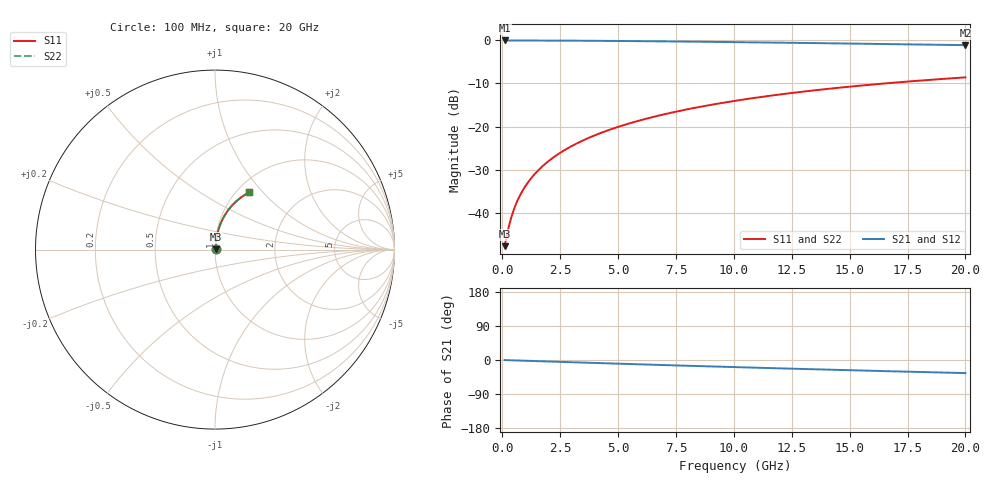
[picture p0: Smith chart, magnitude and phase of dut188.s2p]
! Touchstone file exported from HFSS 2024.1.0
!  File:  C:/UserFiles/LocalFiles/RDL_TSV_Batchsim/temp_RDL_bottom_188_1778698980.aedt
!  Generated:  03:06:03 AM May 14, 2026
!  Design:  RDL_bottom
!  Project:  temp_RDL_bottom_188_1778698980
!  Setup:  Setup1
!  Solution:  Sweep
! Variables:
!  dtsv = 10.80580581um
!  hbump = 3um
!  htsv = 67.96um
!  ldown = 461.82um
!  lrdl = 100um
!  p = 40
!  p1 = 43.12um
!  rhole = 1um
!  t = 450um
!  tdown = 3.2um
!  trdl = 3.915915916um
!  wdown = 15.14um
!  wrdl = 20um
# GHz S MA R 50.000000
! Terminal data exported
! Port[1] = RDL1_T1
! Port[2] = RDL1_T2
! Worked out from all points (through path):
!   200 points, 100 MHz to 20 GHz, reference 50 ohm
!   highest |S21| = -0.03 dB at 100 MHz (marker M1); lowest = -1.1 dB at 20 GHz (marker M2)
!   group delay of S21, straight-line fit = 4.79 ps
!   lowest |S11| = -47.7 dB at 100 MHz (marker M3), VSWR 1.01, Z = 50.4 + j0.211 ohm
!   |S11| at or under -10 dB: start of sweep to 16.52 GHz
!   |S22| runs from -47.7 to -8.6 dB; largest |S21 - S12| = 3.4e-15
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0.1  0.004099 30.7  0.9965 -0.2  0.9965 -0.2  0.004099 30.7
! Gamma 0 0 0 0
! Port Impedance 50 0 50 0
0.2  0.005507 49.1  0.9964 -0.4  0.9964 -0.4  0.005507 49.1
0.3  0.007225 59.1  0.9963 -0.6  0.9963 -0.6  0.007225 59.1
0.4  0.009049 64.9  0.9961 -0.8  0.9961 -0.8  0.009049 64.9
0.5  0.01091 68.7  0.996 -1.0  0.996 -1.0  0.01091 68.7
0.6  0.01279 71.4  0.9959 -1.2  0.9959 -1.2  0.01279 71.4
0.8  0.01658 74.9  0.9956 -1.6  0.9956 -1.6  0.01658 74.9
1.1  0.02232 78.0  0.9952 -2.2  0.9952 -2.2  0.02232 78.0
1.3  0.02617 79.2  0.9949 -2.6  0.9949 -2.6  0.02617 79.2
1.6  0.03199 80.4  0.9944 -3.2  0.9944 -3.2  0.03199 80.4
2.1  0.04174 81.5  0.9934 -4.2  0.9934 -4.2  0.04174 81.5
2.7  0.05352 81.9  0.9918 -5.3  0.9918 -5.3  0.05352 81.9
3.5  0.0693 81.9  0.9892 -6.9  0.9892 -6.9  0.0693 81.9
4.2  0.08317 81.5  0.9865 -8.2  0.9865 -8.2  0.08317 81.5
5  0.09907 80.8  0.983 -9.7  0.983 -9.7  0.09907 80.8
5.9  0.117 79.8  0.9786 -11.4  0.9786 -11.4  0.117 79.8
6.8  0.1349 78.7  0.9737 -13.1  0.9737 -13.1  0.1349 78.7
8.3  0.1646 76.7  0.9647 -15.8  0.9647 -15.8  0.1646 76.7
10.1  0.1997 74.1  0.953 -18.9  0.953 -18.9  0.1997 74.1
13.4  0.2616 69.0  0.9296 -24.4  0.9296 -24.4  0.2617 69.0
16.7  0.3192 64.0  0.9047 -29.6  0.9047 -29.6  0.3193 64.0
20  0.3717 59.1  0.8791 -34.5  0.8791 -34.5  0.3717 59.1
